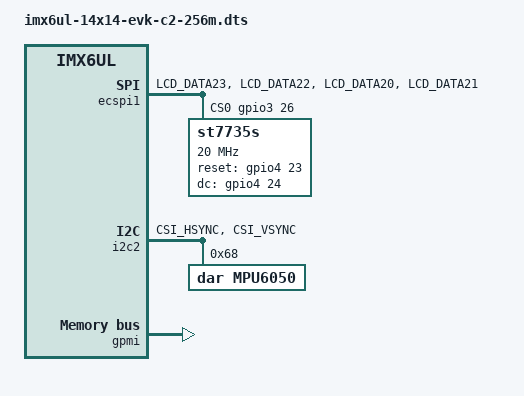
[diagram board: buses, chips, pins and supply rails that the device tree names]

/*
 * Copyright (C) 2016 Freescale Semiconductor, Inc.
 *
 * This program is free software; you can redistribute it and/or modify
 * it under the terms of the GNU General Public License version 2 as
 * published by the Free Software Foundation.
 */

#include "imx6ul-14x14-evk-c2-emmc.dts"

&sim2 {
	status = "disabled";
};
&csi {
        status = "disabled";
};
&lcdif{
        status = "disabled";
};
&ecspi1 {
	fsl,spi-num-chipselects = <1>;
	pinctrl-names = "default";
        cs-gpios = <&gpio3 26 GPIO_ACTIVE_HIGH>;
    	pinctrl-0 = <&pinctrl_ecspi1 &pinctrl_ecspi1_cs>;/*be careful of different api invoke in source files*/
	status = "okay";
	st7735s: st7735s@00{
		compatible = "st7735s";
		reg = <0x0>;
		spi-max-frequency = <20000000>;
		reset-gpios = <&gpio4 23 GPIO_ACTIVE_HIGH>;/* GPIO4_C2 */	
		dc-gpios = <&gpio4 24 GPIO_ACTIVE_HIGH>;/* GPIO4_C6 */	//description
		pinctrl-names = "default";
    		pinctrl-0 = <&st7735s_reset &st7735s_dc>;/*be careful of different api invoke in source files*/
		};
};
&iomuxc {
	imx6ul-evk {
		pinctrl_ecspi1: ecspi1grp {
                         fsl,pins = <
                                MX6UL_PAD_LCD_DATA23__ECSPI1_MISO   0x100b1
				MX6UL_PAD_LCD_DATA22__ECSPI1_MOSI   0x100b1
                                MX6UL_PAD_LCD_DATA20__ECSPI1_SCLK   0x100b1
                         >;
                };
		pinctrl_ecspi1_cs: ecspi1_csgrp {
                         fsl,pins = <
                                MX6UL_PAD_LCD_DATA21__GPIO3_IO26   0x100b1
                         >;
		};
		st7735s_reset: st7735s-reset {
				fsl,pins = <
                                MX6UL_PAD_CSI_DATA02__GPIO4_IO23   0x100b1
                         >;
			};
		st7735s_dc: st7735s-dc {
			fsl,pins = <
                                MX6UL_PAD_CSI_DATA03__GPIO4_IO24   0x1b0b1
                         >;
			};
		};				
};
&i2c2
{
	clock_frequency = <100000>;
	pinctrl-names = "default";
	pinctrl-0 = <&pinctrl_i2c2>;
	status = "okay";
	mpu6050:mpu6050@68 {
		compatible = "dar,mpu6050";
		reg = <0x68>;
		status = "okay";
	};
};
&iomuxc {
	imx6ul-evk {
			pinctrl_i2c2:pinctrl-i2c2{
			fsl,pins = <
                                MX6UL_PAD_CSI_HSYNC__I2C2_SCL   0x4001b8b0
								MX6UL_PAD_CSI_VSYNC__I2C2_SDA   0x4001b8b0
                         >;
			};
		};				
};
&usdhc2 {
	pinctrl-names = "default", "state_100mhz", "state_200mhz";
	pinctrl-0 = <&pinctrl_usdhc2_8bit>;
	pinctrl-1 = <&pinctrl_usdhc2_8bit_100mhz>;
	pinctrl-2 = <&pinctrl_usdhc2_8bit_200mhz>;
	bus-width = <8>;
	non-removable;
	status = "disabled";
};

&qspi {
	status = "disabled";
};
&gpmi {
	pinctrl-names = "default";
        pinctrl-0 = <&pinctrl_nand>;
	status = "okay";
	partition@0{
		label = "boot";
		reg = <0x0000 0x400000>; /*4M*/
	};
	partition@1{
		label = "logo";
		reg = <0x400000 0x200000>; /*2M*/
	};
	partition@2{
		label = "ENV";
		reg = <0x600000 0x100000>; /*1M*/
	};
	partition@3{
		label = "DTB";
		reg = <0x700000 0x300000>; /*3M*/
	};
	partition@4{
		label = "kernel";
		reg = <0xa00000 0x800000>; /*8M*/
	};
	partition@5{
		label = "rootfs";
		reg = <0x1200000 0xee00000>;
	};
};
